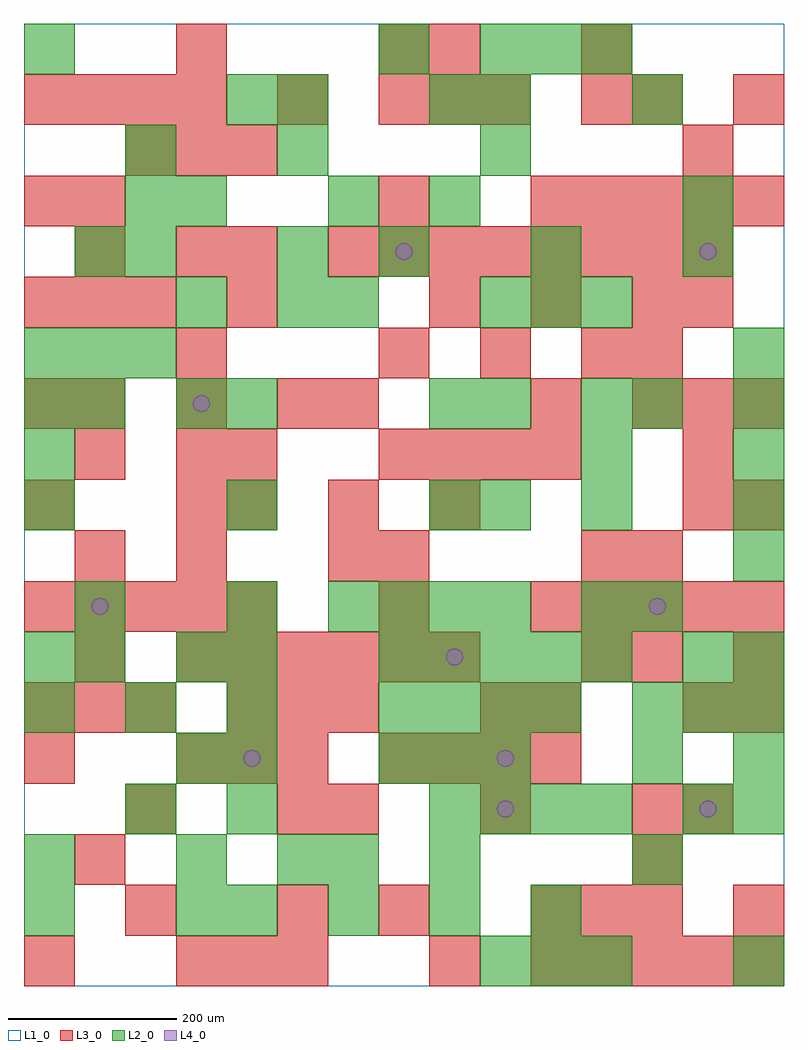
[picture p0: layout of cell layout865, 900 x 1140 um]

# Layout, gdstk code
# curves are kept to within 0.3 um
import gdstk
lib = gdstk.Library(unit=1e-6, precision=1e-09)
def R(c, l, rs):  # rectangles x0, y0, x1, y1
    for r in rs: c.add(gdstk.rectangle(r[:2], r[2:], *l))
def A(c, l, x, y, w, h, nx, ny, dx, dy):  # array of equal rectangles
    R(c, l, [(x+i*dx, y+j*dy, x+i*dx+w, y+j*dy+h) for i in range(nx) for j in range(ny)])
def P(c, l, *ps):  # polygons
    for p in ps: c.add(gdstk.Polygon(p, *l))
L1_0 = (1, 0)
L2_0 = (2, 0)
L3_0 = (3, 0)
L4_0 = (4, 0)

layout865 = lib.new_cell('layout865')
R(layout865, L1_0, [(0,0,900,1140)])
A(layout865, L2_0, 540, 0, 60, 60, 3, 2, 60, 780)
A(layout865, L2_0, 240, 60, 60, 60, 4, 1, 120, 0)
A(layout865, L2_0, 0, 120, 60, 60, 1, 3, 0, 240)
A(layout865, L2_0, 180, 120, 60, 60, 1, 3, 0, 120)
A(layout865, L2_0, 480, 180, 60, 60, 4, 1, 60, 0)
A(layout865, L2_0, 420, 240, 60, 60, 3, 1, 60, 0)
A(layout865, L2_0, 840, 240, 60, 60, 1, 3, 0, 120)
A(layout865, L2_0, 0, 300, 60, 60, 3, 1, 120, 0)
A(layout865, L2_0, 420, 300, 60, 60, 4, 1, 60, 0)
A(layout865, L2_0, 720, 300, 60, 60, 3, 1, 60, 0)
A(layout865, L2_0, 420, 360, 60, 60, 5, 1, 60, 0)
A(layout865, L2_0, 360, 420, 60, 60, 4, 1, 60, 0)
A(layout865, L2_0, 0, 540, 60, 60, 3, 1, 240, 0)
A(layout865, L2_0, 660, 540, 60, 60, 1, 3, 0, 60)
A(layout865, L2_0, 840, 540, 60, 60, 1, 4, 0, 60)
A(layout865, L2_0, 180, 660, 60, 60, 1, 3, 0, 120)
A(layout865, L2_0, 0, 720, 60, 60, 3, 1, 60, 0)
A(layout865, L2_0, 120, 840, 60, 60, 1, 3, 0, 60)
A(layout865, L2_0, 420, 840, 60, 60, 3, 1, 180, 0)
A(layout865, L2_0, 540, 1080, 60, 60, 3, 1, 60, 0)
R(layout865, L2_0, [(840,0,900,60), (0,60,60,120), (180,60,240,120), (300,120,360,180), (360,120,420,180), (480,120,540,180), (720,120,780,180), (120,180,180,240), (240,180,300,240), (780,180,840,240), (840,180,900,240), (240,240,300,300), (720,240,780,300), (60,360,120,420), (240,360,300,420), (780,360,840,420), (60,420,120,480), (240,420,300,480), (660,420,720,480), (720,420,780,480), (540,540,600,600), (0,660,60,720), (60,660,120,720), (240,660,300,720), (480,660,540,720), (540,660,600,720), (720,660,780,720), (300,780,360,840), (360,780,420,840), (60,840,120,900), (300,840,360,900), (360,900,420,960), (480,900,540,960), (780,900,840,960), (300,960,360,1020), (540,960,600,1020), (240,1020,300,1080), (300,1020,360,1080), (480,1020,540,1080), (540,1020,600,1080), (720,1020,780,1080), (0,1080,60,1140), (420,1080,480,1140)])
A(layout865, L3_0, 180, 0, 60, 60, 3, 2, 60, 240)
A(layout865, L3_0, 600, 0, 60, 60, 5, 2, 60, 420)
A(layout865, L3_0, 600, 60, 60, 60, 3, 1, 60, 0)
A(layout865, L3_0, 360, 180, 60, 60, 3, 1, 180, 0)
A(layout865, L3_0, 420, 240, 60, 60, 4, 2, 60, 360)
A(layout865, L3_0, 0, 300, 60, 60, 3, 2, 60, 480)
A(layout865, L3_0, 240, 300, 60, 60, 3, 1, 60, 0)
A(layout865, L3_0, 60, 360, 60, 60, 1, 3, 0, 120)
A(layout865, L3_0, 180, 360, 60, 60, 6, 1, 60, 0)
A(layout865, L3_0, 0, 420, 60, 60, 5, 1, 60, 0)
A(layout865, L3_0, 180, 480, 60, 60, 1, 3, 0, 60)
A(layout865, L3_0, 240, 540, 60, 60, 3, 1, 120, 0)
A(layout865, L3_0, 780, 600, 60, 60, 1, 3, 0, 180)
A(layout865, L3_0, 60, 660, 60, 60, 3, 1, 120, 0)
A(layout865, L3_0, 720, 660, 60, 60, 3, 1, 60, 0)
A(layout865, L3_0, 420, 720, 60, 60, 3, 1, 120, 0)
A(layout865, L3_0, 480, 780, 60, 60, 3, 1, 120, 0)
A(layout865, L3_0, 360, 840, 60, 60, 8, 1, 60, 0)
A(layout865, L3_0, 600, 900, 60, 60, 5, 1, 60, 0)
A(layout865, L3_0, 120, 960, 60, 60, 3, 1, 60, 0)
A(layout865, L3_0, 0, 1020, 60, 60, 4, 1, 60, 0)
A(layout865, L3_0, 420, 1020, 60, 60, 3, 1, 60, 0)
R(layout865, L3_0, [(0,0,60,60), (480,0,540,60), (120,60,180,120), (300,60,360,120), (420,60,480,120), (840,60,900,120), (60,120,120,180), (720,120,780,180), (120,180,180,240), (300,180,360,240), (780,180,840,240), (0,240,60,300), (540,300,600,360), (600,300,660,360), (780,300,840,360), (840,300,900,360), (660,360,720,420), (720,360,780,420), (840,360,900,420), (420,420,480,480), (360,480,420,540), (420,480,480,540), (660,480,720,540), (720,480,780,540), (0,540,60,600), (780,540,840,600), (840,540,900,600), (240,600,300,660), (0,660,60,720), (360,660,420,720), (600,660,660,720), (180,720,240,780), (720,720,780,780), (240,780,300,840), (60,840,120,900), (180,840,240,900), (240,840,300,900), (0,900,60,960), (60,900,120,960), (420,900,480,960), (300,1020,360,1080), (660,1020,720,1080), (720,1020,780,1080), (840,1020,900,1080), (180,1080,240,1140), (420,1080,480,1140), (480,1080,540,1140), (660,1080,720,1140)])
P(layout865, L4_0, [(100,450),(99.239,453.827),(97.071,457.071),(93.827,459.239),(90,460),(86.173,459.239),(82.929,457.071),(80.761,453.827),(80,450),(80.761,446.173),(82.929,442.929),(86.173,440.761),(90,440),(93.827,440.761),(97.071,442.929),(99.239,446.173)],
  [(220,690),(219.239,693.827),(217.071,697.071),(213.827,699.239),(210,700),(206.173,699.239),(202.929,697.071),(200.761,693.827),(200,690),(200.761,686.173),(202.929,682.929),(206.173,680.761),(210,680),(213.827,680.761),(217.071,682.929),(219.239,686.173)],
  [(280,270),(279.239,273.827),(277.071,277.071),(273.827,279.239),(270,280),(266.173,279.239),(262.929,277.071),(260.761,273.827),(260,270),(260.761,266.173),(262.929,262.929),(266.173,260.761),(270,260),(273.827,260.761),(277.071,262.929),(279.239,266.173)],
  [(460,870),(459.239,873.827),(457.071,877.071),(453.827,879.239),(450,880),(446.173,879.239),(442.929,877.071),(440.761,873.827),(440,870),(440.761,866.173),(442.929,862.929),(446.173,860.761),(450,860),(453.827,860.761),(457.071,862.929),(459.239,866.173)],
  [(520,390),(519.239,393.827),(517.071,397.071),(513.827,399.239),(510,400),(506.173,399.239),(502.929,397.071),(500.761,393.827),(500,390),(500.761,386.173),(502.929,382.929),(506.173,380.761),(510,380),(513.827,380.761),(517.071,382.929),(519.239,386.173)],
  [(580,210),(579.239,213.827),(577.071,217.071),(573.827,219.239),(570,220),(566.173,219.239),(562.929,217.071),(560.761,213.827),(560,210),(560.761,206.173),(562.929,202.929),(566.173,200.761),(570,200),(573.827,200.761),(577.071,202.929),(579.239,206.173)],
  [(580,270),(579.239,273.827),(577.071,277.071),(573.827,279.239),(570,280),(566.173,279.239),(562.929,277.071),(560.761,273.827),(560,270),(560.761,266.173),(562.929,262.929),(566.173,260.761),(570,260),(573.827,260.761),(577.071,262.929),(579.239,266.173)],
  [(760,450),(759.239,453.827),(757.071,457.071),(753.827,459.239),(750,460),(746.173,459.239),(742.929,457.071),(740.761,453.827),(740,450),(740.761,446.173),(742.929,442.929),(746.173,440.761),(750,440),(753.827,440.761),(757.071,442.929),(759.239,446.173)],
  [(820,210),(819.239,213.827),(817.071,217.071),(813.827,219.239),(810,220),(806.173,219.239),(802.929,217.071),(800.761,213.827),(800,210),(800.761,206.173),(802.929,202.929),(806.173,200.761),(810,200),(813.827,200.761),(817.071,202.929),(819.239,206.173)],
  [(820,870),(819.239,873.827),(817.071,877.071),(813.827,879.239),(810,880),(806.173,879.239),(802.929,877.071),(800.761,873.827),(800,870),(800.761,866.173),(802.929,862.929),(806.173,860.761),(810,860),(813.827,860.761),(817.071,862.929),(819.239,866.173)])

lib.write_gds('layout865.gds')
